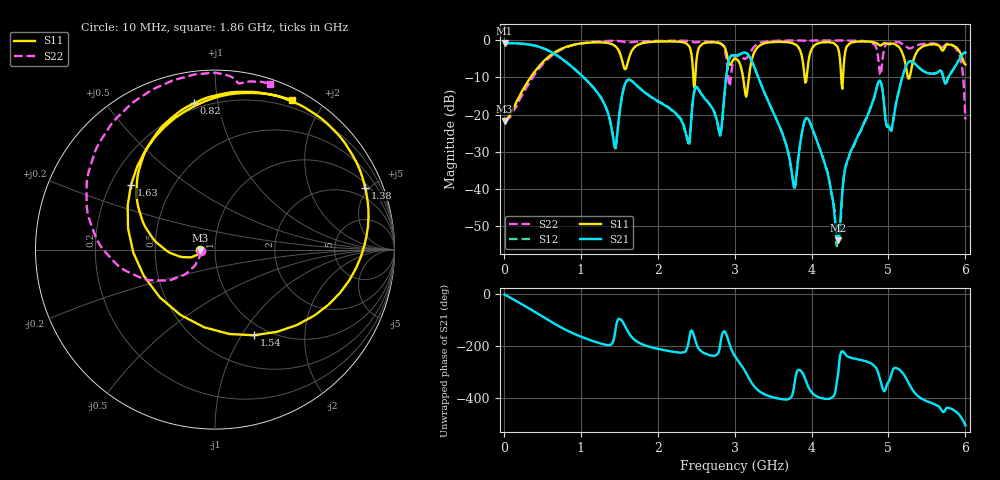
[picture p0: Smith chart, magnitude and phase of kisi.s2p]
! G_pp100: Plane pair 50 × 30 mm, d = 0.1 mm, ports at a corner and the centre
! stackup: plane pair, 0.1 mm FR-4
! ports: 1 corner, 2 centre
! kisi-fdtd, conformal, dfine 0.1 mm, 314160 cells
# Hz S RI R 1
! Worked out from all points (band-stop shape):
!   600 points, 10 MHz to 6 GHz, reference 1 ohm
!   highest |S21| = -0.75 dB at 10 MHz (marker M1); lowest = -53.8 dB at 4.35 GHz (marker M2)
!   |S21| within 3 dB of the highest: start of sweep to 665.5 MHz; 3.069 GHz to 3.172 GHz (102.5 MHz wide, 3.29 % of centre)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
!   lowest |S11| = -21.7 dB at 10 MHz (marker M3), VSWR 1.18, Z = 0.849 - j0.00767 ohm
!   |S11| at or under -10 dB: start of sweep to 348 MHz; 2.464 GHz to 2.488 GHz (24.06 MHz wide, 0.972 % of centre); 3.11 GHz to 3.185 GHz (74.38 MHz wide, 2.36 % of centre)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
!   |S22| runs from -21.8 to 0.0 dB; largest |S21 - S12| = 0.0098
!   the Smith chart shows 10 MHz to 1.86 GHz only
!   S11 on the Smith chart (normalised r, x): 10 MHz: 0.85, -0.01; 820 MHz: 0.17, +0.85; 1.38 GHz: 1.24, +4.73; 1.54 GHz: 0.86, -1.13; 1.63 GHz: 0.28, +0.32; 1.86 GHz: 0.12, +1.63
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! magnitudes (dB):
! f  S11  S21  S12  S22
! 10 MHz  -21.7  -0.7  -0.7  -21.8
! 820 MHz  -1.7  -6.0  -6.0  -1.8
! 1.01 GHz  -0.8  -9.4  -9.4  -0.8
! 1.38 GHz  -0.9  -21.5  -21.7  -0.2
! 1.45 GHz  -1.6  -29.0  -29.2  -0.1
! 1.54 GHz  -5.6  -14.7  -14.7  -0.3
! 1.63 GHz  -4.6  -10.6  -10.6  -0.6
! 1.86 GHz  -0.6  -14.5  -14.4  -0.2
! 2.01 GHz  -0.3  -16.5  -16.6  -0.2
! 2.81 GHz  -0.8  -25.7  -25.0  -0.8
! 3.01 GHz  -5.0  -4.1  -4.1  -4.5
! 3.15 GHz  -15.2  -3.4  -3.4  -4.9
! 3.31 GHz  -1.7  -10.1  -10.1  -0.9
! 3.77 GHz  -0.9  -39.5  -39.0  0.0
! 4.01 GHz  -2.1  -23.7  -23.8  -0.1
! 4.35 GHz  -2.5  -53.8  -50.7  -0.1
! 4.45 GHz  -2.1  -33.4  -33.6  -0.1
! 4.86 GHz  -1.0  -11.8  -11.7  -3.8
! 5.01 GHz  -1.1  -23.5  -22.9  -0.9
! 5.26 GHz  -10.3  -5.9  -5.9  -2.1
! 5.85 GHz  -1.5  -7.5  -7.7  -1.6
! 6 GHz  -6.5  -3.3  -3.3  -21.3
